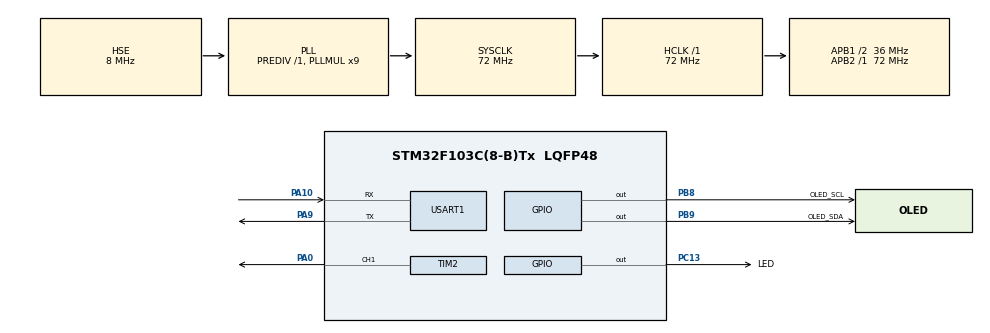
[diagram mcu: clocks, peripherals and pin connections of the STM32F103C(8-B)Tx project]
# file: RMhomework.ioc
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Mcu.Family=STM32F1
Mcu.Name=STM32F103C(8-B)Tx
Mcu.Package=LQFP48
NVIC.PriorityGroup=NVIC_PRIORITYGROUP_4
PA0-WKUP.Signal=S_TIM2_CH1_ETR
PA10.Mode=Asynchronous
PA10.Signal=USART1_RX
PA13.Mode=Serial_Wire
PA13.Signal=SYS_JTMS-SWDIO
PA14.Mode=Serial_Wire
PA14.Signal=SYS_JTCK-SWCLK
PA9.Mode=Asynchronous
PA9.Signal=USART1_TX
PB8.GPIO_Label=OLED_SCL
PB8.GPIO_ModeDefaultOutputPP=GPIO_MODE_OUTPUT_OD
PB8.GPIO_PuPd=GPIO_NOPULL
PB8.GPIO_Speed=GPIO_SPEED_FREQ_HIGH
PB8.PinState=GPIO_PIN_SET
PB8.Signal=GPIO_Output
PB9.GPIO_Label=OLED_SDA
PB9.GPIO_ModeDefaultOutputPP=GPIO_MODE_OUTPUT_OD
PB9.GPIO_PuPd=GPIO_NOPULL
PB9.GPIO_Speed=GPIO_SPEED_FREQ_HIGH
PB9.PinState=GPIO_PIN_SET
PB9.Signal=GPIO_Output
PC13-TAMPER-RTC.GPIO_Label=LED
PC13-TAMPER-RTC.Signal=GPIO_Output
PD0-OSC_IN.Mode=HSE-External-Oscillator
PD0-OSC_IN.Signal=RCC_OSC_IN
PD1-OSC_OUT.Mode=HSE-External-Oscillator
PD1-OSC_OUT.Signal=RCC_OSC_OUT
ProjectManager.HeapSize=0x200
ProjectManager.StackSize=0x400
ProjectManager.TargetToolchain=CMake
RCC.AHBFreq_Value=72000000
RCC.APB1CLKDivider=RCC_HCLK_DIV2
RCC.APB1Freq_Value=36000000
RCC.APB1TimFreq_Value=72000000
RCC.APB2Freq_Value=72000000
RCC.APB2TimFreq_Value=72000000
RCC.HCLKFreq_Value=72000000
RCC.PLLMUL=RCC_PLL_MUL9
RCC.PLLSourceVirtual=RCC_PLLSOURCE_HSE
RCC.SYSCLKFreq_VALUE=72000000
RCC.SYSCLKSource=RCC_SYSCLKSOURCE_PLLCLK
RCC.USBFreq_Value=72000000
SH.S_TIM2_CH1_ETR.0=TIM2_CH1,PWM Generation1 CH1
TIM2.Channel-PWM\ Generation1\ CH1=TIM_CHANNEL_1
TIM2.Prescaler=71
USART1.VirtualMode=VM_ASYNC
board=custom

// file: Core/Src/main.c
/* USER CODE BEGIN Header */
/**
  ******************************************************************************
  * @file           : main.c
  * @brief          : Main program body
  ******************************************************************************
  * @attention
  *
  * Copyright (c) 2026 STMicroelectronics.
  * All rights reserved.
  *
  * This software is licensed under terms that can be found in the LICENSE file
  * in the root directory of this software component.
  * If no LICENSE file comes with this software, it is provided AS-IS.
  *
  ******************************************************************************
  */
/* USER CODE END Header */
#include "main.h"
#include "tim.h"
#include "usart.h"
#include "gpio.h"

/* USER CODE BEGIN Includes */
#include <stdio.h>
#include "OLED.h"
/* USER CODE END Includes */

void SystemClock_Config(void);

/* USER CODE BEGIN 0 */
uint16_t AngleToCCR(float angle);
void Servo_SetAngle(float angle);
void OLED_ShowAll(float target,uint16_t ccr);
/* USER CODE END 0 */

int main(void)
{

  /* MCU Configuration--------------------------------------------------------*/

  /* Reset of all peripherals, Initializes the Flash interface and the Systick. */
  HAL_Init();

  /* Configure the system clock */
  SystemClock_Config();

  /* Initialize all configured peripherals */
  MX_GPIO_Init();
  MX_TIM2_Init();
  MX_USART1_UART_Init();
  uint8_t test[] = "UART OK\r\n";
  HAL_UART_Transmit(&huart1, test, sizeof(test) - 1, 100);
  HAL_Delay(1000);
  /* USER CODE BEGIN 2 */

  HAL_TIM_PWM_Start(&htim2, TIM_CHANNEL_1);
  OLED_Init();
  OLED_Clear();

  /* USER CODE END 2 */

  /* Infinite loop */
  while (1)
  {

    /* USER CODE BEGIN 3 */
    const float seq[5] = {0.0f, 45.0f, 90.0f, 135.0f, 180.0f};

    HAL_TIM_PWM_Start(&htim2, TIM_CHANNEL_1);

    for (int i = 0; i < 5; i++) {
      Servo_SetAngle(seq[i]);
      uint16_t ccr= AngleToCCR(seq[i]);
      OLED_ShowAll(seq[i],ccr);          /* Step 6 里封好的显示函数 */
      printf("Target=%3d  CCR=%4d  Pulse=%d.%03dms\r\n",
       (int)seq[i],
       ccr,
       ccr / 1000,
       ccr % 1000);
                         /* Step 7 的打印 */
      HAL_Delay(1000);
    }

  }
  /* USER CODE END 3 */
}

void SystemClock_Config(void)
{
  RCC_OscInitTypeDef RCC_OscInitStruct = {0};
  RCC_ClkInitTypeDef RCC_ClkInitStruct = {0};

  /** Initializes the RCC Oscillators according to the specified parameters
  * in the RCC_OscInitTypeDef structure.
  */
  RCC_OscInitStruct.OscillatorType = RCC_OSCILLATORTYPE_HSE;
  RCC_OscInitStruct.HSEState = RCC_HSE_ON;
  RCC_OscInitStruct.HSEPredivValue = RCC_HSE_PREDIV_DIV1;
  RCC_OscInitStruct.HSIState = RCC_HSI_ON;
  RCC_OscInitStruct.PLL.PLLState = RCC_PLL_ON;
  RCC_OscInitStruct.PLL.PLLSource = RCC_PLLSOURCE_HSE;
  RCC_OscInitStruct.PLL.PLLMUL = RCC_PLL_MUL9;
  if (HAL_RCC_OscConfig(&RCC_OscInitStruct) != HAL_OK)
  {
    Error_Handler();
  }

  /** Initializes the CPU, AHB and APB buses clocks
  */
  RCC_ClkInitStruct.ClockType = RCC_CLOCKTYPE_HCLK|RCC_CLOCKTYPE_SYSCLK
                              |RCC_CLOCKTYPE_PCLK1|RCC_CLOCKTYPE_PCLK2;
  RCC_ClkInitStruct.SYSCLKSource = RCC_SYSCLKSOURCE_PLLCLK;
  RCC_ClkInitStruct.AHBCLKDivider = RCC_SYSCLK_DIV1;
  RCC_ClkInitStruct.APB1CLKDivider = RCC_HCLK_DIV2;
  RCC_ClkInitStruct.APB2CLKDivider = RCC_HCLK_DIV1;

  if (HAL_RCC_ClockConfig(&RCC_ClkInitStruct, FLASH_LATENCY_2) != HAL_OK)
  {
    Error_Handler();
  }
}

/* USER CODE BEGIN 4 */

uint16_t AngleToCCR(float angle)
{
  if (angle < 2.0f)   angle = 2.0f;
  if (angle > 178.0f) angle = 178.0f;

  /* TODO 1：两端各留 2° 余量，把 0 和 180 换成 2 和 178 */
  return (uint16_t)(500.0f + angle / 180.0f * 2000.0f);
}
void Servo_SetAngle(float angle)
{
  uint16_t ccr = AngleToCCR(angle);
  __HAL_TIM_SET_COMPARE(&htim2, TIM_CHANNEL_1, ccr);
}
void OLED_ShowAll(float target,uint16_t ccr)

{
/* 第 1 行：目标角度，位宽固定 3 位 */
OLED_ShowString(1, 1,  "Target:");
OLED_ShowNum(1, 9, (uint32_t)target, 3);
OLED_ShowString(1, 12, "deg");

/* 第 2 行：CCR */
OLED_ShowString(2, 1,  "CCR   :");
OLED_ShowNum(2, 9, ccr, 4);

/* 第 3 行：脉宽，拆成整数和小数两部分显示，避开浮点打印 */
OLED_ShowString(3, 1,  "Pulse :");
OLED_ShowNum(3, 9, ccr / 1000, 1);
OLED_ShowString(3, 10, ".");
OLED_ShowNum(3, 11, ccr % 1000, 3);
OLED_ShowString(3, 14, "ms");
}

int _write(int fd, char *ptr, int len)
{
  HAL_UART_Transmit(&huart1, (uint8_t *)ptr, len, 100);
  return len;
}

/* USER CODE END 4 */

void Error_Handler(void)
{
  __disable_irq();
  while (1)
  {
  }
}
